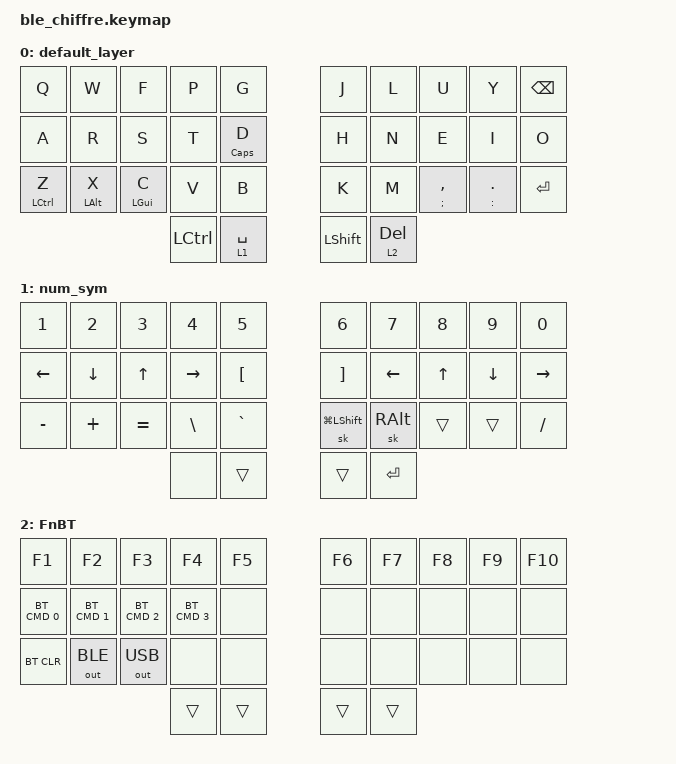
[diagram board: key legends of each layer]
/*
 * Copyright (c) 2020 The ZMK Contributors
 *
 * SPDX-License-Identifier: MIT
 */

#include <behaviors.dtsi>
#include <dt-bindings/zmk/keys.h>
#include <dt-bindings/zmk/bt.h>
#include <dt-bindings/zmk/rgb.h>
#include <dt-bindings/zmk/outputs.h>

#define DEFAULT 0
#define NUM_SYM 1
#define FnBT    2

/ {
	behaviors {
		rst: boot_reset 
		{
			compatible = "zmk,behavior-hold-tap";
			label = "Bootloader Tap - Reset Hold";
			#binding-cells = <2>;
			tapping_term_ms = <200>;
            flavor = "balanced";
			bindings = <&reset>, <&bootloader>;
        };

        bh: layer_taps 
		{
			compatible = "zmk,behavior-hold-tap";
			label = "Layer-Tap";
			#binding-cells = <2>;
			tapping_term_ms = <215>;
            flavor = "tap-preferred";
			bindings = <&mo>, <&kp>;
        };

        hm: homerow_mods0 
		{
			compatible = "zmk,behavior-hold-tap";
			label = "homerow mods";
			#binding-cells = <2>;
			tapping_term_ms = <230>;
            flavor = "tap-preferred";
			bindings = <&kp>, <&kp>;
        };
        
        // hm1: homerow_mods1 
		// {
		// 	compatible = "zmk,behavior-hold-tap";
		// 	label = "homerow mods";
		// 	#binding-cells = <2>;
		// 	tapping_term_ms = <205>;
        //     flavor = "tap-preferred";
		// 	bindings = <&kp>, <&kp>;
        // };

        hm2: homerow_mods2 
		{
			compatible = "zmk,behavior-hold-tap";
			label = "homerow mods 2";
			#binding-cells = <2>;
			tapping_term_ms = <250>;
            flavor = "tap-preferred";
			bindings = <&kp>, <&kp>;
        };

        com_col: comma_semicolon
		{
		 	compatible = "zmk,behavior-hold-tap";
	     	label = "Tap comma_hold colon";
			#binding-cells = <2>;
			tapping_term_ms = <150>;
            flavor = "balanced";
		 	bindings = <&kp>, <&kp>;
	    };
   	 };
};

/ {
	combos {
		compatible = "zmk,combos";
		combo_sqt {
			timeout-ms = <100>;
			key-positions = <5 6>;
			bindings = <&kp SQT>;
		};
		combo_esc 
		{
			timeout-ms = <50>;
			key-positions = <0 1>;
			bindings = <&kp ESC>;
		};
			combo_grave 
		{
			timeout-ms = <40>;
			key-positions = <0 1 2>;
			bindings = <&kp GRAVE>;
		};
		combo_tab 
		{
			timeout-ms = <40>;
			key-positions = <10 11 12>;
			bindings = <&kp TAB>;
		};
		// combo_mnxt 
		// {
		// 	timeout-ms = <30>;
		// 	key-positions = <28 29>;
		// 	bindings = <&kp C_NEXT>;
		// };
		// combo_mprev 
		// {
		// 	timeout-ms = <30>;
		// 	key-positions = <27 28>;
		// 	bindings = <&kp C_PREV>;	
		// };
		// combo_mpp 
		// {
		// 	timeout-ms = <30>;
		// 	key-positions = <27 29>;
		// 	bindings = <&kp C_PP>;
		// };
		combo_del 
		{
			timeout-ms = <40>;
			key-positions = <7 8 9>;
			bindings = <&kp DEL>;
		};
		combo_ent 
		{
			timeout-ms = <30>;
			key-positions = <17 18>;
			bindings = <&kp RET>;
		};
		combo_ent2
		{
			timeout-ms = <30>;
			key-positions = <2 3>;
			bindings = <&kp RET>;
		};
	};
};

/ {
    keymap 
	{
    compatible = "zmk,keymap";

    default_layer {
            bindings = <
    &kp Q &kp W &kp F &kp P &kp G &kp J &kp L &kp U &kp Y &kp BSPC
    &kp A &kp R &kp S &kp T &hm2 CLCK D &kp H &kp N &kp E &kp I &kp O
    &hm LCTL Z &hm LALT X &hm2 LGUI C &kp V &kp B &kp K &kp M &com_col SEMI COMMA &com_col COLON DOT &kp RET
    &kp LCTL &bh 1 SPACE &kp LSHFT &bh 2 DEL
            >;
        };

    num_sym {
            bindings = <
    &kp N1 &kp N2 &kp N3 &kp N4 &kp N5 &kp N6 &kp N7 &kp N8 &kp N9 &kp N0
    &kp LEFT &kp DOWN &kp UP &kp RIGHT &kp LEFT_BRACKET &kp RIGHT_BRACKET &kp LEFT &kp UP &kp DOWN &kp RIGHT
    &kp MINUS &kp PLUS &kp EQUAL &kp BSLH &kp GRAVE &sk LG(LSHFT) &sk RALT &trans &trans &kp FSLH
    &none &trans &trans &kp RET
            >;
        };

    FnBT {
            bindings = <
    &kp F1 &kp F2 &kp F3 &kp F4 &kp F5 &kp F6 &kp F7 &kp F8 &kp F9 &kp F10
    &bt BT_SEL_CMD 0 &bt BT_SEL_CMD 1 &bt BT_SEL_CMD 2 &bt BT_SEL_CMD 3 &none &none &none &none &none &none
    &bt BT_CLR &out OUT_BLE &out OUT_USB &none &none &none &none &none &none &none
    &trans &trans &trans &trans
            >;
        };
    };
}; 
